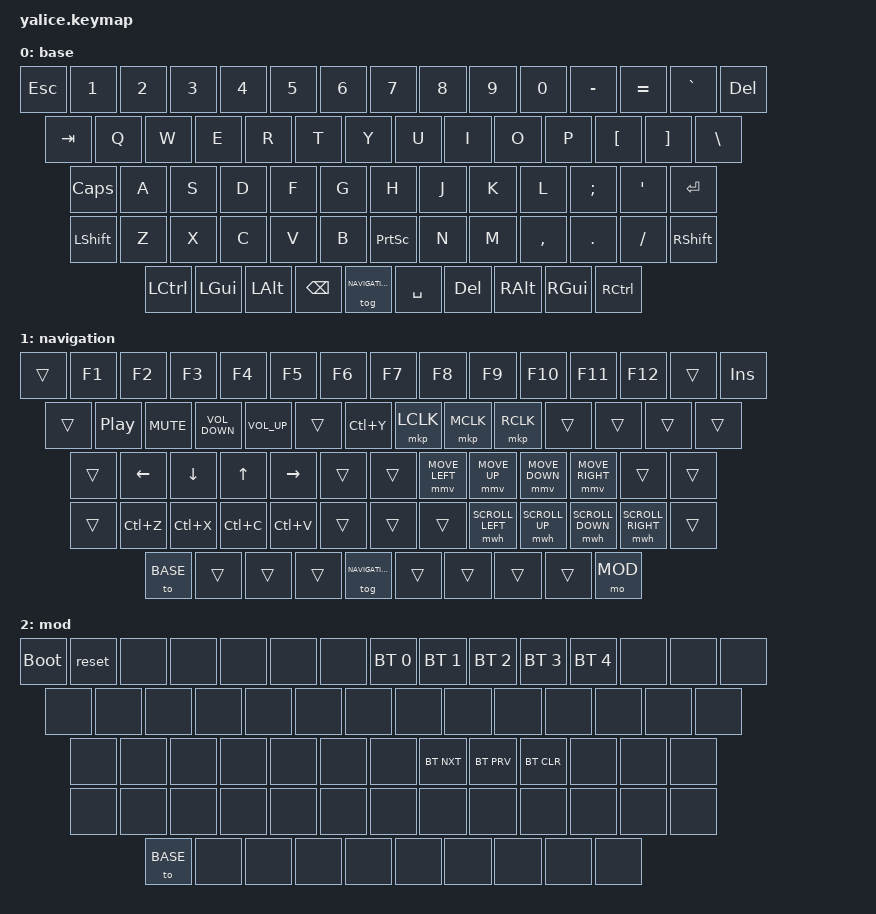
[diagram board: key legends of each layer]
#include <behaviors.dtsi>
#include <dt-bindings/zmk/keys.h>
#include <dt-bindings/zmk/bt.h>
#include <dt-bindings/zmk/mouse.h>

#define BASE 		0
#define NAVIGATION 	1
#define MOD 		2	


&mmv {
    time-to-max-speed-ms = <100>;
};

&mmv {
    acceleration-exponent=<1>;
};

&mwh {
    time-to-max-speed-ms = <300>;
};


&mwh {
    acceleration-exponent=<2>;
};


/ {
    keymap {
        compatible = "zmk,keymap";

        base {
            bindings = <

	&kp ESC  &kp N1 &kp N2 &kp N3 &kp N4 &kp N5 &kp N6		 &kp N7 &kp N8 &kp N9 &kp N0 &kp MINUS &kp EQUAL &kp GRAVE &kp DEL
	&kp TAB  &kp Q  &kp W  &kp E  &kp R  &kp T 			 &kp Y  &kp U  &kp I  &kp O  &kp P  &kp LBKT  &kp RBKT  &kp BSLH
	&kp CLCK  &kp A  &kp S  &kp D  &kp F  &kp G 			 &kp H  &kp J  &kp K  &kp L  &kp SEMI &kp SQT  &kp RET
	&kp LSHFT   &kp Z  &kp X  &kp C  &kp V  &kp B   		 &kp PSCRN  &kp N  &kp M  &kp COMMA &kp DOT &kp FSLH  &kp RSHFT
	&kp LCTRL &kp LGUI &kp LALT  &kp BSPC  &tog NAVIGATION  	 &kp SPACE   &kp DEL  &kp RALT  &kp RGUI   &kp RCTRL
	            >;
        };
	
        navigation {
            bindings = <

    	&trans  	&kp F1 			&kp F2 		&kp F3 			&kp F4 			&kp F5 	&kp F6 		&kp F7 		&kp F8 		&kp F9 			&kp F10 		&kp F11 		&kp F12 		&trans 		&kp INS		
	&trans  	&kp C_PLAY_PAUSE 	&kp C_MUTE  	&kp C_VOLUME_DOWN 	&kp C_VOLUME_UP 	&trans 			&kp LC(Y)  	&mkp LCLK  	&mkp MCLK  		&mkp RCLK  		&trans  		&trans  		&trans  	&trans
	&trans		&kp LEFT_ARROW 		&kp DOWN_ARROW  &kp UP_ARROW  		&kp RIGHT_ARROW 	&trans  		&trans  	&mmv MOVE_LEFT 	&mmv MOVE_UP 		&mmv MOVE_DOWN  	&mmv MOVE_RIGHT 	&trans  		&trans
	&trans  	&kp LC(Z)  		&kp LC(X)  	&kp LC(C)  		&kp LC(V)  		&trans   		&trans  	&trans  	&mwh SCROLL_LEFT  	&mwh SCROLL_UP  	&mwh SCROLL_DOWN  	&mwh SCROLL_RIGHT 	&trans
	&to BASE  	&trans  		&trans 		&trans  		&tog NAVIGATION             			&trans  	&trans  	&trans  		&trans  		&mo MOD
            >;
        };
	
	mod {
            bindings = <

    	&bootloader &reset &none &none &none &none &none 			&bt BT_SEL 0 &bt BT_SEL 1 &bt BT_SEL 2 &bt BT_SEL 3 &bt BT_SEL 4 &none &none &none
	&none  &none  &none  &none  &none  &none  				&none  &none  &none  &none  &none  &none  &none  &none
	&none  &none  &none  &none  &none  &none   				&none  &bt BT_NXT  &bt BT_PRV	&bt BT_CLR  &none  &none  &none
	&none  &none  &none  &none  &none  &none   				&none  &none  &none  &none  &none  &none  &none
	&to BASE &none  &none  &none  &none       				&none  &none  &none  &none  &none
            >;
        };
    };
};
